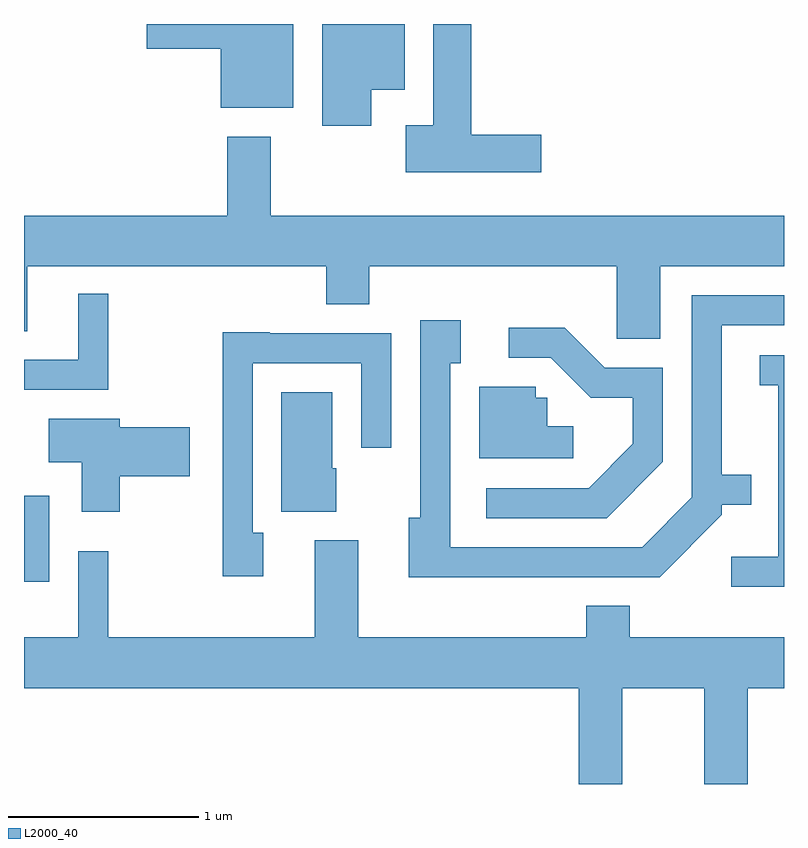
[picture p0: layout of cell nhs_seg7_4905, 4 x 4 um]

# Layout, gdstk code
import gdstk
lib = gdstk.Library(unit=1e-6, precision=1e-09)
def R(c, l, rs):  # rectangles x0, y0, x1, y1
    for r in rs: c.add(gdstk.rectangle(r[:2], r[2:], *l))
def P(c, l, *ps):  # polygons
    for p in ps: c.add(gdstk.Polygon(p, *l))
L2000_40 = (2000, 40)

nhs_seg7_4905 = lib.new_cell('nhs_seg7_4905')
R(nhs_seg7_4905, L2000_40, [(335.611,1719.316,335.744,1719.769)])
P(nhs_seg7_4905, L2000_40, [(337.029,1722.252),(336.256,1722.252),(336.256,1722.121),(336.646,1722.121),(336.646,1721.811),(337.029,1721.811)],
  [(337.439,1721.906),(337.614,1721.906),(337.614,1722.252),(337.181,1722.252),(337.181,1721.716),(337.439,1721.716)],
  [(338.334,1721.669),(337.964,1721.669),(337.964,1722.252),(337.766,1722.252),(337.766,1721.719),(337.621,1721.719),(337.621,1721.471),(338.334,1721.471)],
  [(338.959,1720.976),(339.611,1720.976),(339.611,1721.244),(336.909,1721.244),(336.909,1721.659),(336.681,1721.659),(336.681,1721.244),(335.611,1721.244),(335.611,1720.636),(335.629,1720.636),(335.629,1720.976),(337.201,1720.976),(337.201,1720.776),(337.429,1720.776),(337.429,1720.976),(338.731,1720.976),(338.731,1720.596),(338.959,1720.596)],
  [(336.054,1720.833),(335.896,1720.833),(335.896,1720.484),(335.611,1720.484),(335.611,1720.326),(336.054,1720.326)],
  [(339.284,1719.669),(339.284,1719.721),(339.438,1719.721),(339.438,1719.879),(339.284,1719.879),(339.284,1720.666),(339.611,1720.666),(339.611,1720.824),(339.126,1720.824),(339.126,1719.762),(338.864,1719.499),(337.854,1719.499),(337.854,1720.466),(337.909,1720.466),(337.909,1720.694),(337.696,1720.694),(337.696,1719.654),(337.636,1719.654),(337.636,1719.341),(338.957,1719.341)],
  [(338.974,1719.949),(338.974,1720.444),(338.667,1720.444),(338.457,1720.654),(338.163,1720.654),(338.163,1720.496),(338.384,1720.496),(338.594,1720.286),(338.816,1720.286),(338.816,1720.042),(338.584,1719.809),(338.043,1719.809),(338.043,1719.651),(338.677,1719.651)],
  [(336.869,1719.574),(336.814,1719.574),(336.814,1720.466),(337.386,1720.466),(337.386,1720.023),(337.544,1720.023),(337.544,1720.624),(336.905,1720.624),(336.905,1720.629),(336.656,1720.629),(336.656,1719.346),(336.869,1719.346)],
  [(339.611,1720.509),(339.483,1720.509),(339.483,1720.351),(339.581,1720.351),(339.581,1719.449),(339.333,1719.449),(339.333,1719.291),(339.611,1719.291)],
  [(338.503,1720.134),(338.364,1720.134),(338.364,1720.284),(338.304,1720.284),(338.304,1720.344),(338.006,1720.344),(338.006,1719.966),(338.503,1719.966)],
  [(337.254,1719.914),(337.234,1719.914),(337.234,1720.314),(336.966,1720.314),(336.966,1719.686),(337.254,1719.686)],
  [(336.114,1719.871),(336.484,1719.871),(336.484,1720.129),(336.114,1720.129),(336.114,1720.174),(335.741,1720.174),(335.741,1719.946),(335.916,1719.946),(335.916,1719.686),(336.114,1719.686)],
  [(338.759,1718.756),(339.191,1718.756),(339.191,1718.252),(339.419,1718.252),(339.419,1718.756),(339.611,1718.756),(339.611,1719.024),(338.799,1719.024),(338.799,1719.189),(338.571,1719.189),(338.571,1719.024),(337.369,1719.024),(337.369,1719.534),(337.141,1719.534),(337.141,1719.024),(336.054,1719.024),(336.054,1719.478),(335.896,1719.478),(335.896,1719.024),(335.611,1719.024),(335.611,1718.756),(338.531,1718.756),(338.531,1718.252),(338.759,1718.252)])

lib.write_gds('nhs_seg7_4905.gds')
